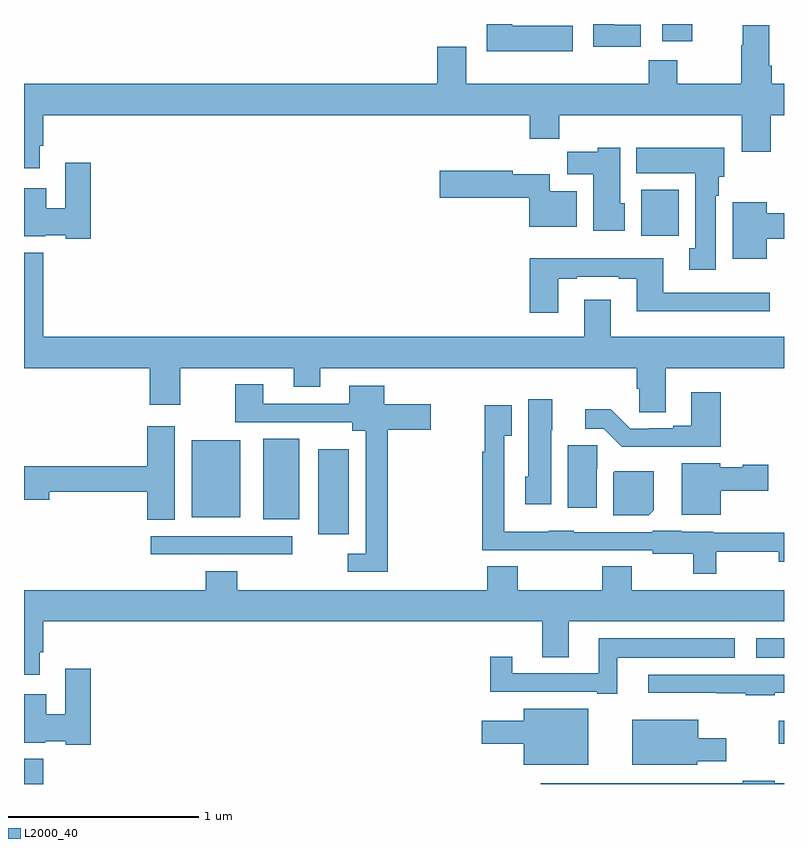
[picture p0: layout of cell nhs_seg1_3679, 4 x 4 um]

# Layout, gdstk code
import gdstk
lib = gdstk.Library(unit=1e-6, precision=1e-09)
def R(c, l, rs):  # rectangles x0, y0, x1, y1
    for r in rs: c.add(gdstk.rectangle(r[:2], r[2:], *l))
def P(c, l, *ps):  # polygons
    for p in ps: c.add(gdstk.Polygon(p, *l))
L2000_40 = (2000, 40)

nhs_seg1_3679 = lib.new_cell('nhs_seg1_3679')
R(nhs_seg1_3679, L2000_40, [(311,560.199,311.101,560.332), (314.972,560.411,315,560.533), (314.853,560.864,315,560.965), (311.667,561.408,312.412,561.504), (312.548,561.513,312.709,561.961), (312.26,561.593,312.448,562.015), (311.882,561.602,312.139,562.009), (314.249,563.084,314.446,563.326), (314.36,564.108,314.518,564.199)])
P(nhs_seg1_3679, L2000_40, [(313.888,564.19),(313.57,564.19),(313.57,564.199),(313.436,564.199),(313.436,564.056),(313.888,564.056)],
  [(314.246,564.196),(314.107,564.196),(314.107,564.199),(313.997,564.199),(313.997,564.078),(314.246,564.078)],
  [(311.083,563.557),(311.101,563.557),(311.101,563.72),(313.661,563.72),(313.661,563.596),(313.817,563.596),(313.817,563.72),(314.777,563.72),(314.777,563.526),(314.93,563.526),(314.93,563.72),(315,563.72),(315,563.884),(314.936,563.884),(314.936,563.98),(314.923,563.98),(314.923,564.193),(314.783,564.193),(314.783,564.086),(314.776,564.086),(314.776,563.884),(314.439,563.884),(314.439,564.008),(314.287,564.008),(314.287,563.884),(313.327,563.884),(313.327,564.079),(313.175,564.079),(313.175,563.884),(311,563.884),(311,563.439),(311.083,563.439)],
  [(314.161,563.256),(314.137,563.256),(314.137,563.548),(314.019,563.548),(314.019,563.527),(313.858,563.527),(313.858,563.408),(313.997,563.408),(313.997,563.112),(314.161,563.112)],
  [(314.641,563.294),(314.656,563.294),(314.656,563.394),(314.686,563.394),(314.686,563.548),(314.222,563.548),(314.222,563.414),(314.534,563.414),(314.534,563.018),(314.501,563.018),(314.501,562.905),(314.641,562.905)],
  [(311.351,563.47),(311.216,563.47),(311.216,563.229),(311.116,563.229),(311.116,563.335),(311,563.335),(311,563.081),(311.112,563.081),(311.112,563.087),(311.22,563.087),(311.22,563.069),(311.351,563.069)],
  [(313.909,563.32),(313.768,563.32),(313.768,563.407),(313.572,563.407),(313.572,563.427),(313.188,563.427),(313.188,563.285),(313.658,563.285),(313.658,563.132),(313.909,563.132)],
  [(314.908,563.068),(315,563.068),(315,563.204),(314.908,563.204),(314.908,563.26),(314.729,563.26),(314.729,562.964),(314.908,562.964)],
  [(311,562.996),(311,562.388),(311.663,562.388),(311.663,562.194),(311.823,562.194),(311.823,562.388),(312.419,562.388),(312.419,562.289),(312.559,562.289),(312.559,562.388),(314.225,562.388),(314.225,562.278),(314.238,562.278),(314.238,562.156),(314.377,562.156),(314.377,562.388),(315,562.388),(315,562.552),(314.089,562.552),(314.089,562.747),(313.949,562.747),(313.949,562.552),(311.101,562.552),(311.101,562.996)],
  [(313.813,562.857),(313.909,562.857),(313.909,562.869),(314.129,562.869),(314.129,562.857),(314.225,562.857),(314.225,562.688),(314.926,562.688),(314.926,562.785),(314.365,562.785),(314.365,562.966),(313.661,562.966),(313.661,562.68),(313.813,562.68)],
  [(312.914,562.064),(313.141,562.064),(313.141,562.198),(312.895,562.198),(312.895,562.294),(312.713,562.294),(312.713,562.2),(312.259,562.2),(312.259,562.303),(312.112,562.303),(312.112,562.104),(312.728,562.104),(312.728,562.058),(312.798,562.058),(312.798,561.411),(312.705,561.411),(312.705,561.315),(312.914,561.315)],
  [(314.666,562.261),(314.513,562.261),(314.513,562.084),(314.417,562.084),(314.417,562.071),(314.29,562.071),(314.29,562.068),(314.19,562.068),(314.088,562.171),(313.953,562.171),(313.953,562.068),(314.052,562.068),(314.147,561.974),(314.666,561.974)],
  [(313.774,562.062),(313.78,562.062),(313.78,562.225),(313.655,562.225),(313.655,561.816),(313.637,561.816),(313.637,561.672),(313.774,561.672)],
  [(314.644,561.422),(314.972,561.422),(314.972,561.368),(315,561.368),(315,561.522),(314.628,561.522),(314.628,561.526),(314.46,561.526),(314.46,561.532),(314.31,561.532),(314.31,561.525),(313.893,561.525),(313.893,561.532),(313.761,561.532),(313.761,561.526),(313.527,561.526),(313.527,562.031),(313.567,562.031),(313.567,562.192),(313.426,562.192),(313.426,561.947),(313.411,561.947),(313.411,561.429),(313.661,561.429),(313.661,561.428),(313.893,561.428),(313.893,561.429),(314.31,561.429),(314.31,561.41),(314.523,561.41),(314.523,561.305),(314.644,561.305)],
  [(311.794,562.081),(311.648,562.081),(311.648,561.872),(311,561.872),(311,561.694),(311.134,561.694),(311.134,561.736),(311.648,561.736),(311.648,561.589),(311.794,561.589)],
  [(314.014,561.858),(314.018,561.858),(314.018,561.981),(313.862,561.981),(313.862,561.654),(314.014,561.654)],
  [(314.668,561.743),(314.917,561.743),(314.917,561.878),(314.784,561.878),(314.784,561.865),(314.664,561.865),(314.664,561.886),(314.462,561.886),(314.462,561.617),(314.668,561.617)],
  [(314.314,561.64),(314.314,561.844),(314.11,561.844),(314.102,561.836),(314.102,561.614),(314.288,561.614)],
  [(311.083,560.893),(311.101,560.893),(311.101,561.056),(313.727,561.056),(313.727,560.866),(313.867,560.866),(313.867,561.056),(315,561.056),(315,561.22),(314.199,561.22),(314.199,561.344),(314.044,561.344),(314.044,561.22),(313.599,561.22),(313.599,561.344),(313.439,561.344),(313.439,561.22),(312.122,561.22),(312.122,561.319),(311.957,561.319),(311.957,561.22),(311,561.22),(311,560.775),(311.083,560.775)],
  [(314.122,560.864),(314.74,560.864),(314.74,560.965),(314.024,560.965),(314.024,560.781),(313.57,560.781),(313.57,560.869),(313.453,560.869),(313.453,560.685),(314.018,560.685),(314.018,560.673),(314.122,560.673)],
  [(311.351,560.806),(311.216,560.806),(311.216,560.565),(311.116,560.565),(311.116,560.671),(311,560.671),(311,560.417),(311.112,560.417),(311.112,560.423),(311.22,560.423),(311.22,560.405),(311.351,560.405)],
  [(314.951,560.679),(315,560.679),(315,560.775),(314.286,560.775),(314.286,560.678),(314.644,560.678),(314.644,560.677),(314.798,560.677),(314.798,560.667),(314.951,560.667)],
  [(313.969,560.596),(313.631,560.596),(313.631,560.533),(313.41,560.533),(313.41,560.411),(313.631,560.411),(313.631,560.3),(313.969,560.3)],
  [(314.544,560.318),(314.695,560.318),(314.695,560.44),(314.548,560.44),(314.548,560.536),(314.201,560.536),(314.201,560.3),(314.544,560.3)],
  [(315,560.202),(314.951,560.202),(314.951,560.215),(314.782,560.215),(314.782,560.202),(313.719,560.202),(313.719,560.199),(315,560.199)])

lib.write_gds('nhs_seg1_3679.gds')
